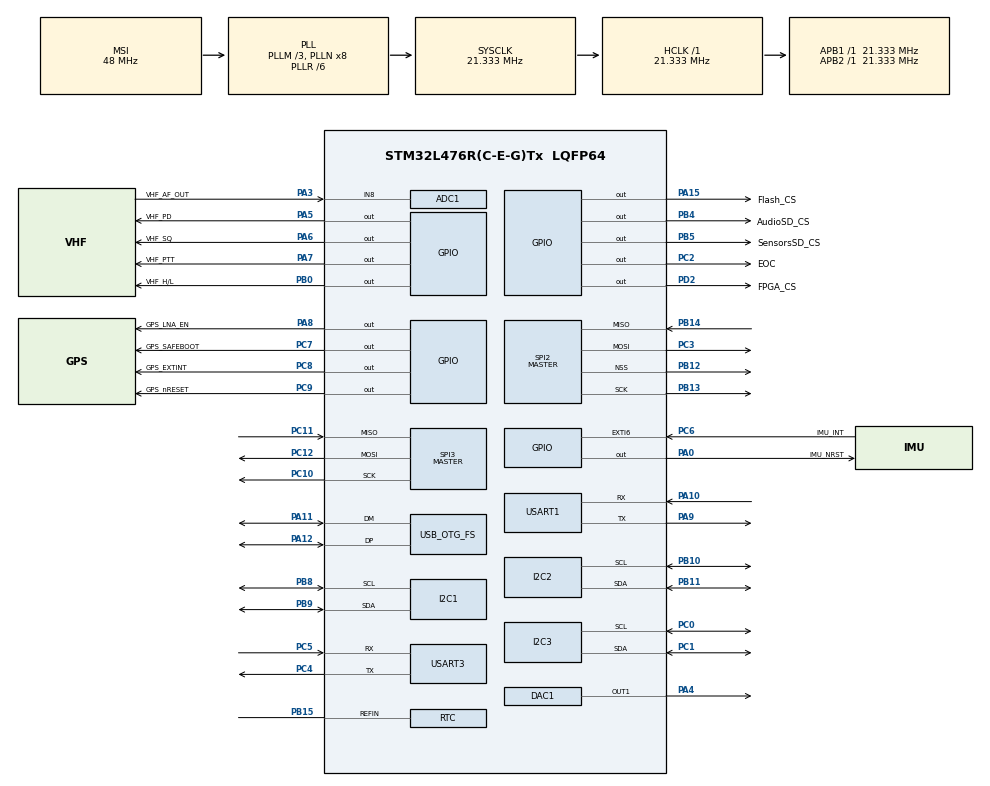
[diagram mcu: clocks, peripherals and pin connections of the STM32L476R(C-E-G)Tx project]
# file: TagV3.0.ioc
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ADC1.Channel-5\#ChannelRegularConversion=ADC_CHANNEL_8
ADC1.NbrOfConversionFlag=1
ADC1.OffsetNumber-5\#ChannelRegularConversion=ADC_OFFSET_NONE
ADC1.Rank-5\#ChannelRegularConversion=1
ADC1.SamplingTime-5\#ChannelRegularConversion=ADC_SAMPLETIME_2CYCLES_5
ADC1.master=1
DAC1.DAC_UserTrimming-DAC_OUT1=DAC_TRIMMING_FACTORY
I2C1.Timing=0x0050527B
I2C2.Timing=0x0050527B
I2C3.Timing=0x0050527B
Mcu.Family=STM32L4
Mcu.Name=STM32L476R(C-E-G)Tx
Mcu.Package=LQFP64
NVIC.OTG_FS_IRQn=true\:0\:0\:false\:false\:true\:false\:true\:true
NVIC.PVD_PVM_IRQn=true\:0\:0\:false\:false\:true\:true\:true\:true
NVIC.PriorityGroup=NVIC_PRIORITYGROUP_4
PA0.GPIO_Label=IMU_NRST
PA0.Signal=GPIO_Output
PA10.Mode=Asynchronous
PA10.Signal=USART1_RX
PA11.Mode=Device_Only
PA11.Signal=USB_OTG_FS_DM
PA12.Mode=Device_Only
PA12.Signal=USB_OTG_FS_DP
PA13\ (JTMS-SWDIO).Mode=Trace_Asynchronous_SW
PA13\ (JTMS-SWDIO).Signal=SYS_JTMS-SWDIO
PA14\ (JTCK-SWCLK).Mode=Trace_Asynchronous_SW
PA14\ (JTCK-SWCLK).Signal=SYS_JTCK-SWCLK
PA15\ (JTDI).GPIO_Label=Flash_CS
PA15\ (JTDI).Signal=GPIO_Output
PA3.GPIO_Label=VHF_AF_OUT
PA3.Signal=ADCx_IN8
PA4.Signal=COMP_DAC11_group
PA5.GPIO_Label=VHF_PD
PA5.Signal=GPIO_Output
PA6.GPIO_Label=VHF_SQ
PA6.Signal=GPIO_Output
PA7.GPIO_Label=VHF_PTT
PA7.Signal=GPIO_Output
PA8.GPIO_Label=GPS_LNA_EN
PA8.Signal=GPIO_Output
PA9.Mode=Asynchronous
PA9.Signal=USART1_TX
PB0.GPIO_Label=VHF_H/L
PB0.Signal=GPIO_Output
PB10.Mode=I2C
PB10.Signal=I2C2_SCL
PB11.Mode=I2C
PB11.Signal=I2C2_SDA
PB12.Mode=NSS_Signal_Hard_Output
PB12.Signal=SPI2_NSS
PB13.Mode=Full_Duplex_Master
PB13.Signal=SPI2_SCK
PB14.Mode=Full_Duplex_Master
PB14.Signal=SPI2_MISO
PB15.Mode=Reference_Clock_Detection_Activate
PB15.Signal=RTC_REFIN
PB2.Signal=RTC_OUT_CALIB
PB3\ (JTDO-TRACESWO).Mode=Trace_Asynchronous_SW
PB3\ (JTDO-TRACESWO).Signal=SYS_JTDO-SWO
PB4\ (NJTRST).GPIO_Label=AudioSD_CS
PB4\ (NJTRST).Signal=GPIO_Output
PB5.GPIO_Label=SensorsSD_CS
PB5.Signal=GPIO_Output
PB8.Mode=I2C
PB8.Signal=I2C1_SCL
PB9.Mode=I2C
PB9.Signal=I2C1_SDA
PC0.Mode=I2C
PC0.Signal=I2C3_SCL
PC1.Mode=I2C
PC1.Signal=I2C3_SDA
PC10.Mode=Full_Duplex_Master
PC10.Signal=SPI3_SCK
PC11.Mode=Full_Duplex_Master
PC11.Signal=SPI3_MISO
PC12.Mode=Full_Duplex_Master
PC12.Signal=SPI3_MOSI
PC14-OSC32_IN\ (PC14).Mode=LSE-External-Oscillator
PC14-OSC32_IN\ (PC14).Signal=RCC_OSC32_IN
PC15-OSC32_OUT\ (PC15).Mode=LSE-External-Oscillator
PC15-OSC32_OUT\ (PC15).Signal=RCC_OSC32_OUT
PC2.GPIO_Label=EOC
PC2.Signal=GPIO_Output
PC3.Mode=Full_Duplex_Master
PC3.Signal=SPI2_MOSI
PC4.Mode=Asynchronous
PC4.Signal=USART3_TX
PC5.Mode=Asynchronous
PC5.Signal=USART3_RX
PC6.GPIO_Label=IMU_INT
PC6.Signal=GPXTI6
PC7.GPIO_Label=GPS_SAFEBOOT
PC7.Signal=GPIO_Output
PC8.GPIO_Label=GPS_EXTINT
PC8.Signal=GPIO_Output
PC9.GPIO_Label=GPS_nRESET
PC9.Signal=GPIO_Output
PD2.GPIO_Label=FPGA_CS
PD2.Signal=GPIO_Output
ProjectManager.HeapSize=0x200
ProjectManager.StackSize=0x400
ProjectManager.TargetToolchain=STM32CubeIDE
RCC.ADCFreq_Value=21333333.333333332
RCC.AHBFreq_Value=21333333.333333332
RCC.APB1Freq_Value=21333333.333333332
RCC.APB1TimFreq_Value=21333333.333333332
RCC.APB2Freq_Value=21333333.333333332
RCC.APB2TimFreq_Value=21333333.333333332
RCC.CK48CLockSelection=RCC_USBCLKSOURCE_MSI
RCC.CortexFreq_Value=21333333.333333332
RCC.HCLKFreq_Value=21333333.333333332
RCC.HSE_VALUE=8000000
RCC.HSICalibrationValue=16
RCC.HSI_VALUE=16000000
RCC.MSIClockRange=RCC_MSIRANGE_11
RCC.MSI_VALUE=48000000
RCC.PLLM=3
RCC.PLLR=RCC_PLLR_DIV6
RCC.PLLSAI1Q=RCC_PLLQ_DIV4
RCC.PLLSAI1R=RCC_PLLR_DIV6
RCC.PREFETCH_ENABLE=0
RCC.PWR_Regulator_Voltage_Scale=PWR_REGULATOR_VOLTAGE_SCALE2
RCC.RTCClockSelection=RCC_RTCCLKSOURCE_LSE
RCC.SYSCLKFreq_VALUE=21333333.333333332
RCC.SYSCLKSource=RCC_SYSCLKSOURCE_PLLCLK
RCC.USBFreq_Value=48000000
RCC.VCOOutputFreq_Value=128000000
RTC.Format=RTC_FORMAT_BIN
RTC.HourFormat=RTC_HOURFORMAT_24
SH.ADCx_IN8.0=ADC1_IN8,IN8-Single-Ended
SH.COMP_DAC11_group.0=DAC1_OUT1,DAC_OUT1
SPI2.CalculateBaudRate=10.666666 MBits/s
SPI2.Direction=SPI_DIRECTION_2LINES
SPI2.Mode=SPI_MODE_MASTER
SPI2.NSSPMode=SPI_NSS_PULSE_ENABLE
SPI2.VirtualNSS=VM_NSSHARD
SPI2.VirtualType=VM_MASTER
SPI3.CalculateBaudRate=10.666666 MBits/s
SPI3.Direction=SPI_DIRECTION_2LINES
SPI3.Mode=SPI_MODE_MASTER
SPI3.VirtualType=VM_MASTER
USART1.VirtualMode-Asynchronous=VM_ASYNC
USART3.VirtualMode-Asynchronous=VM_ASYNC
USB_DEVICE.CLASS_NAME_FS=CDC
USB_DEVICE.VirtualMode=Cdc
USB_DEVICE.VirtualModeFS=Cdc_FS
USB_OTG_FS.VirtualMode=Device_Only
USB_OTG_FS.low_power_enable=ENABLE
USB_OTG_FS.lpm_enable=ENABLE
VP_RTC_VS_RTC_Activate.Mode=RTC_Enabled
VP_RTC_VS_RTC_Calendar.Mode=RTC_Calendar
VP_USB_DEVICE_VS_USB_DEVICE_CDC_FS.Mode=CDC_FS
board=custom

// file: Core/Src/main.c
/* USER CODE BEGIN Header */
/**
 ******************************************************************************
 * @file           : main.c
 * @brief          : Main program body
 ******************************************************************************
 * @attention
 *
 * Copyright (c) 2023 STMicroelectronics.
 * All rights reserved.
 *
 * This software is licensed under terms that can be found in the LICENSE file
 * in the root directory of this software component.
 * If no LICENSE file comes with this software, it is provided AS-IS.
 *
 ******************************************************************************
 */
/* USER CODE END Header */
#include "main.h"
#include "usb_device.h"

/* USER CODE BEGIN Includes */
#include "BMS.h"
#include "BuildConfigs.h"
#include "KellerDepth.h"
#include "LightSensor.h"

#ifdef UNIT_TESTS
#include "UnitTests.h"
#endif
/* USER CODE END Includes */

ADC_HandleTypeDef hadc1;

DAC_HandleTypeDef hdac1;

I2C_HandleTypeDef hi2c1;
I2C_HandleTypeDef hi2c2;
I2C_HandleTypeDef hi2c3;

RTC_HandleTypeDef hrtc;

SPI_HandleTypeDef hspi2;
SPI_HandleTypeDef hspi3;

UART_HandleTypeDef huart1;
UART_HandleTypeDef huart3;

/* USER CODE BEGIN PV */
Keller_HandleTypedef keller_sensor;
Light_Sensor_HandleTypedef light_sensor;
/* USER CODE END PV */

void SystemClock_Config(void);
static void MX_GPIO_Init(void);
static void MX_I2C1_Init(void);
static void MX_RTC_Init(void);
static void MX_SPI2_Init(void);
static void MX_DAC1_Init(void);
static void MX_I2C3_Init(void);
static void MX_SPI3_Init(void);
static void MX_ADC1_Init(void);
static void MX_I2C2_Init(void);
static void MX_USART3_UART_Init(void);
static void MX_USART1_UART_Init(void);

int main(void)
{

	/* MCU Configuration--------------------------------------------------------*/

	/* Reset of all peripherals, Initializes the Flash interface and the Systick. */
	HAL_Init();

	/* Configure the system clock */
	SystemClock_Config();

	/* Initialize all configured peripherals */
	MX_GPIO_Init();
	MX_I2C1_Init();
	MX_RTC_Init();
	MX_USB_DEVICE_Init();
	MX_SPI2_Init();
	MX_DAC1_Init();
	MX_I2C3_Init();
	MX_SPI3_Init();
	MX_ADC1_Init();
	MX_I2C2_Init();
	MX_USART3_UART_Init();
	MX_USART1_UART_Init();
	/* USER CODE BEGIN 2 */
	Keller_Init(&keller_sensor, &hi2c3);
	Light_Sensor_Init(&light_sensor, &hi2c3);
	/* USER CODE END 2 */

	/* Infinite loop */
	/* USER CODE BEGIN WHILE */
#ifdef UNIT_TESTS
	Keller_UT(&keller_sensor);
	Light_UT(&light_sensor);
	while (1){}
#endif
	while (1)
	{
		/* USER CODE END WHILE */

	}
}

void SystemClock_Config(void)
{
	RCC_OscInitTypeDef RCC_OscInitStruct = {0};
	RCC_ClkInitTypeDef RCC_ClkInitStruct = {0};

	/** Configure the main internal regulator output voltage
	 */
	if (HAL_PWREx_ControlVoltageScaling(PWR_REGULATOR_VOLTAGE_SCALE2) != HAL_OK)
	{
		Error_Handler();
	}

	/** Configure LSE Drive Capability
	 */
	HAL_PWR_EnableBkUpAccess();
	__HAL_RCC_LSEDRIVE_CONFIG(RCC_LSEDRIVE_LOW);

	/** Initializes the RCC Oscillators according to the specified parameters
	 * in the RCC_OscInitTypeDef structure.
	 */
	RCC_OscInitStruct.OscillatorType = RCC_OSCILLATORTYPE_LSE|RCC_OSCILLATORTYPE_MSI;
	RCC_OscInitStruct.LSEState = RCC_LSE_ON;
	RCC_OscInitStruct.MSIState = RCC_MSI_ON;
	RCC_OscInitStruct.MSICalibrationValue = 0;
	RCC_OscInitStruct.MSIClockRange = RCC_MSIRANGE_11;
	RCC_OscInitStruct.PLL.PLLState = RCC_PLL_ON;
	RCC_OscInitStruct.PLL.PLLSource = RCC_PLLSOURCE_MSI;
	RCC_OscInitStruct.PLL.PLLM = 3;
	RCC_OscInitStruct.PLL.PLLN = 8;
	RCC_OscInitStruct.PLL.PLLP = RCC_PLLP_DIV7;
	RCC_OscInitStruct.PLL.PLLQ = RCC_PLLQ_DIV2;
	RCC_OscInitStruct.PLL.PLLR = RCC_PLLR_DIV6;
	if (HAL_RCC_OscConfig(&RCC_OscInitStruct) != HAL_OK)
	{
		Error_Handler();
	}

	/** Initializes the CPU, AHB and APB buses clocks
	 */
	RCC_ClkInitStruct.ClockType = RCC_CLOCKTYPE_HCLK|RCC_CLOCKTYPE_SYSCLK
			|RCC_CLOCKTYPE_PCLK1|RCC_CLOCKTYPE_PCLK2;
	RCC_ClkInitStruct.SYSCLKSource = RCC_SYSCLKSOURCE_PLLCLK;
	RCC_ClkInitStruct.AHBCLKDivider = RCC_SYSCLK_DIV1;
	RCC_ClkInitStruct.APB1CLKDivider = RCC_HCLK_DIV1;
	RCC_ClkInitStruct.APB2CLKDivider = RCC_HCLK_DIV1;

	if (HAL_RCC_ClockConfig(&RCC_ClkInitStruct, FLASH_LATENCY_3) != HAL_OK)
	{
		Error_Handler();
	}

	/** Enable MSI Auto calibration
	 */
	HAL_RCCEx_EnableMSIPLLMode();
}

static void MX_ADC1_Init(void)
{

	ADC_MultiModeTypeDef multimode = {0};
	ADC_ChannelConfTypeDef sConfig = {0};

	/** Common config
	 */
	hadc1.Instance = ADC1;
	hadc1.Init.ClockPrescaler = ADC_CLOCK_ASYNC_DIV1;
	hadc1.Init.Resolution = ADC_RESOLUTION_12B;
	hadc1.Init.DataAlign = ADC_DATAALIGN_RIGHT;
	hadc1.Init.ScanConvMode = ADC_SCAN_DISABLE;
	hadc1.Init.EOCSelection = ADC_EOC_SINGLE_CONV;
	hadc1.Init.LowPowerAutoWait = DISABLE;
	hadc1.Init.ContinuousConvMode = DISABLE;
	hadc1.Init.NbrOfConversion = 1;
	hadc1.Init.DiscontinuousConvMode = DISABLE;
	hadc1.Init.ExternalTrigConv = ADC_SOFTWARE_START;
	hadc1.Init.ExternalTrigConvEdge = ADC_EXTERNALTRIGCONVEDGE_NONE;
	hadc1.Init.DMAContinuousRequests = DISABLE;
	hadc1.Init.Overrun = ADC_OVR_DATA_PRESERVED;
	hadc1.Init.OversamplingMode = DISABLE;
	if (HAL_ADC_Init(&hadc1) != HAL_OK)
	{
		Error_Handler();
	}

	/** Configure the ADC multi-mode
	 */
	multimode.Mode = ADC_MODE_INDEPENDENT;
	if (HAL_ADCEx_MultiModeConfigChannel(&hadc1, &multimode) != HAL_OK)
	{
		Error_Handler();
	}

	/** Configure Regular Channel
	 */
	sConfig.Channel = ADC_CHANNEL_8;
	sConfig.Rank = ADC_REGULAR_RANK_1;
	sConfig.SamplingTime = ADC_SAMPLETIME_2CYCLES_5;
	sConfig.SingleDiff = ADC_SINGLE_ENDED;
	sConfig.OffsetNumber = ADC_OFFSET_NONE;
	sConfig.Offset = 0;
	if (HAL_ADC_ConfigChannel(&hadc1, &sConfig) != HAL_OK)
	{
		Error_Handler();
	}

}

static void MX_DAC1_Init(void)
{

	DAC_ChannelConfTypeDef sConfig = {0};

	/** DAC Initialization
	 */
	hdac1.Instance = DAC1;
	if (HAL_DAC_Init(&hdac1) != HAL_OK)
	{
		Error_Handler();
	}

	/** DAC channel OUT1 config
	 */
	sConfig.DAC_SampleAndHold = DAC_SAMPLEANDHOLD_DISABLE;
	sConfig.DAC_Trigger = DAC_TRIGGER_NONE;
	sConfig.DAC_OutputBuffer = DAC_OUTPUTBUFFER_ENABLE;
	sConfig.DAC_ConnectOnChipPeripheral = DAC_CHIPCONNECT_DISABLE;
	sConfig.DAC_UserTrimming = DAC_TRIMMING_FACTORY;
	if (HAL_DAC_ConfigChannel(&hdac1, &sConfig, DAC_CHANNEL_1) != HAL_OK)
	{
		Error_Handler();
	}

}

static void MX_I2C1_Init(void)
{

	hi2c1.Instance = I2C1;
	hi2c1.Init.Timing = 0x0050527B;
	hi2c1.Init.OwnAddress1 = 0;
	hi2c1.Init.AddressingMode = I2C_ADDRESSINGMODE_7BIT;
	hi2c1.Init.DualAddressMode = I2C_DUALADDRESS_DISABLE;
	hi2c1.Init.OwnAddress2 = 0;
	hi2c1.Init.OwnAddress2Masks = I2C_OA2_NOMASK;
	hi2c1.Init.GeneralCallMode = I2C_GENERALCALL_DISABLE;
	hi2c1.Init.NoStretchMode = I2C_NOSTRETCH_DISABLE;
	if (HAL_I2C_Init(&hi2c1) != HAL_OK)
	{
		Error_Handler();
	}

	/** Configure Analogue filter
	 */
	if (HAL_I2CEx_ConfigAnalogFilter(&hi2c1, I2C_ANALOGFILTER_ENABLE) != HAL_OK)
	{
		Error_Handler();
	}

	/** Configure Digital filter
	 */
	if (HAL_I2CEx_ConfigDigitalFilter(&hi2c1, 0) != HAL_OK)
	{
		Error_Handler();
	}

}

static void MX_I2C2_Init(void)
{

	hi2c2.Instance = I2C2;
	hi2c2.Init.Timing = 0x0050527B;
	hi2c2.Init.OwnAddress1 = 0;
	hi2c2.Init.AddressingMode = I2C_ADDRESSINGMODE_7BIT;
	hi2c2.Init.DualAddressMode = I2C_DUALADDRESS_DISABLE;
	hi2c2.Init.OwnAddress2 = 0;
	hi2c2.Init.OwnAddress2Masks = I2C_OA2_NOMASK;
	hi2c2.Init.GeneralCallMode = I2C_GENERALCALL_DISABLE;
	hi2c2.Init.NoStretchMode = I2C_NOSTRETCH_DISABLE;
	if (HAL_I2C_Init(&hi2c2) != HAL_OK)
	{
		Error_Handler();
	}

	/** Configure Analogue filter
	 */
	if (HAL_I2CEx_ConfigAnalogFilter(&hi2c2, I2C_ANALOGFILTER_ENABLE) != HAL_OK)
	{
		Error_Handler();
	}

	/** Configure Digital filter
	 */
	if (HAL_I2CEx_ConfigDigitalFilter(&hi2c2, 0) != HAL_OK)
	{
		Error_Handler();
	}

}

static void MX_I2C3_Init(void)
{

	hi2c3.Instance = I2C3;
	hi2c3.Init.Timing = 0x0050527B;
	hi2c3.Init.OwnAddress1 = 0;
	hi2c3.Init.AddressingMode = I2C_ADDRESSINGMODE_7BIT;
	hi2c3.Init.DualAddressMode = I2C_DUALADDRESS_DISABLE;
	hi2c3.Init.OwnAddress2 = 0;
	hi2c3.Init.OwnAddress2Masks = I2C_OA2_NOMASK;
	hi2c3.Init.GeneralCallMode = I2C_GENERALCALL_DISABLE;
	hi2c3.Init.NoStretchMode = I2C_NOSTRETCH_DISABLE;
	if (HAL_I2C_Init(&hi2c3) != HAL_OK)
	{
		Error_Handler();
	}

	/** Configure Analogue filter
	 */
	if (HAL_I2CEx_ConfigAnalogFilter(&hi2c3, I2C_ANALOGFILTER_ENABLE) != HAL_OK)
	{
		Error_Handler();
	}

	/** Configure Digital filter
	 */
	if (HAL_I2CEx_ConfigDigitalFilter(&hi2c3, 0) != HAL_OK)
	{
		Error_Handler();
	}

}

static void MX_RTC_Init(void)
{

	RTC_TimeTypeDef sTime = {0};
	RTC_DateTypeDef sDate = {0};

	/** Initialize RTC Only
	 */
	hrtc.Instance = RTC;
	hrtc.Init.HourFormat = RTC_HOURFORMAT_24;
	hrtc.Init.AsynchPrediv = 127;
	hrtc.Init.SynchPrediv = 255;
	hrtc.Init.OutPut = RTC_OUTPUT_DISABLE;
	hrtc.Init.OutPutRemap = RTC_OUTPUT_REMAP_POS1;
	hrtc.Init.OutPutPolarity = RTC_OUTPUT_POLARITY_HIGH;
	hrtc.Init.OutPutType = RTC_OUTPUT_TYPE_OPENDRAIN;
	if (HAL_RTC_Init(&hrtc) != HAL_OK)
	{
		Error_Handler();
	}

	/** Initialize RTC and set the Time and Date
	 */
	sTime.Hours = 0;
	sTime.Minutes = 0;
	sTime.Seconds = 0;
	sTime.DayLightSaving = RTC_DAYLIGHTSAVING_NONE;
	sTime.StoreOperation = RTC_STOREOPERATION_RESET;
	if (HAL_RTC_SetTime(&hrtc, &sTime, RTC_FORMAT_BIN) != HAL_OK)
	{
		Error_Handler();
	}
	sDate.WeekDay = RTC_WEEKDAY_MONDAY;
	sDate.Month = RTC_MONTH_JANUARY;
	sDate.Date = 1;
	sDate.Year = 0;

	if (HAL_RTC_SetDate(&hrtc, &sDate, RTC_FORMAT_BIN) != HAL_OK)
	{
		Error_Handler();
	}

	/** Enable the reference Clock input
	 */
	if (HAL_RTCEx_SetRefClock(&hrtc) != HAL_OK)
	{
		Error_Handler();
	}

}

static void MX_SPI2_Init(void)
{

	/* SPI2 parameter configuration*/
	hspi2.Instance = SPI2;
	hspi2.Init.Mode = SPI_MODE_MASTER;
	hspi2.Init.Direction = SPI_DIRECTION_2LINES;
	hspi2.Init.DataSize = SPI_DATASIZE_4BIT;
	hspi2.Init.CLKPolarity = SPI_POLARITY_LOW;
	hspi2.Init.CLKPhase = SPI_PHASE_1EDGE;
	hspi2.Init.NSS = SPI_NSS_HARD_OUTPUT;
	hspi2.Init.BaudRatePrescaler = SPI_BAUDRATEPRESCALER_2;
	hspi2.Init.FirstBit = SPI_FIRSTBIT_MSB;
	hspi2.Init.TIMode = SPI_TIMODE_DISABLE;
	hspi2.Init.CRCCalculation = SPI_CRCCALCULATION_DISABLE;
	hspi2.Init.CRCPolynomial = 7;
	hspi2.Init.CRCLength = SPI_CRC_LENGTH_DATASIZE;
	hspi2.Init.NSSPMode = SPI_NSS_PULSE_ENABLE;
	if (HAL_SPI_Init(&hspi2) != HAL_OK)
	{
		Error_Handler();
	}

}

static void MX_SPI3_Init(void)
{

	/* SPI3 parameter configuration*/
	hspi3.Instance = SPI3;
	hspi3.Init.Mode = SPI_MODE_MASTER;
	hspi3.Init.Direction = SPI_DIRECTION_2LINES;
	hspi3.Init.DataSize = SPI_DATASIZE_4BIT;
	hspi3.Init.CLKPolarity = SPI_POLARITY_LOW;
	hspi3.Init.CLKPhase = SPI_PHASE_1EDGE;
	hspi3.Init.NSS = SPI_NSS_SOFT;
	hspi3.Init.BaudRatePrescaler = SPI_BAUDRATEPRESCALER_2;
	hspi3.Init.FirstBit = SPI_FIRSTBIT_MSB;
	hspi3.Init.TIMode = SPI_TIMODE_DISABLE;
	hspi3.Init.CRCCalculation = SPI_CRCCALCULATION_DISABLE;
	hspi3.Init.CRCPolynomial = 7;
	hspi3.Init.CRCLength = SPI_CRC_LENGTH_DATASIZE;
	hspi3.Init.NSSPMode = SPI_NSS_PULSE_ENABLE;
	if (HAL_SPI_Init(&hspi3) != HAL_OK)
	{
		Error_Handler();
	}

}

static void MX_USART1_UART_Init(void)
{

	huart1.Instance = USART1;
	huart1.Init.BaudRate = 115200;
	huart1.Init.WordLength = UART_WORDLENGTH_8B;
	huart1.Init.StopBits = UART_STOPBITS_1;
	huart1.Init.Parity = UART_PARITY_NONE;
	huart1.Init.Mode = UART_MODE_TX_RX;
	huart1.Init.HwFlowCtl = UART_HWCONTROL_NONE;
	huart1.Init.OverSampling = UART_OVERSAMPLING_16;
	huart1.Init.OneBitSampling = UART_ONE_BIT_SAMPLE_DISABLE;
	huart1.AdvancedInit.AdvFeatureInit = UART_ADVFEATURE_NO_INIT;
	if (HAL_UART_Init(&huart1) != HAL_OK)
	{
		Error_Handler();
	}

}

static void MX_USART3_UART_Init(void)
{

	huart3.Instance = USART3;
	huart3.Init.BaudRate = 115200;
	huart3.Init.WordLength = UART_WORDLENGTH_8B;
	huart3.Init.StopBits = UART_STOPBITS_1;
	huart3.Init.Parity = UART_PARITY_NONE;
	huart3.Init.Mode = UART_MODE_TX_RX;
	huart3.Init.HwFlowCtl = UART_HWCONTROL_NONE;
	huart3.Init.OverSampling = UART_OVERSAMPLING_16;
	huart3.Init.OneBitSampling = UART_ONE_BIT_SAMPLE_DISABLE;
	huart3.AdvancedInit.AdvFeatureInit = UART_ADVFEATURE_NO_INIT;
	if (HAL_UART_Init(&huart3) != HAL_OK)
	{
		Error_Handler();
	}

}

static void MX_GPIO_Init(void)
{
	GPIO_InitTypeDef GPIO_InitStruct = {0};

	/* GPIO Ports Clock Enable */
	__HAL_RCC_GPIOC_CLK_ENABLE();
	__HAL_RCC_GPIOA_CLK_ENABLE();
	__HAL_RCC_GPIOB_CLK_ENABLE();
	__HAL_RCC_GPIOD_CLK_ENABLE();

	/*Configure GPIO pin Output Level */
	HAL_GPIO_WritePin(GPIOC, EOC_Pin|GPS_SAFEBOOT_Pin|GPS_EXTINT_Pin|GPS_nRESET_Pin, GPIO_PIN_RESET);

	/*Configure GPIO pin Output Level */
	HAL_GPIO_WritePin(GPIOA, IMU_NRST_Pin|VHF_PD_Pin|VHF_SQ_Pin|VHF_PTT_Pin
			|GPS_LNA_EN_Pin|Flash_CS_Pin, GPIO_PIN_RESET);

	/*Configure GPIO pin Output Level */
	HAL_GPIO_WritePin(GPIOB, VHF_H_L_Pin|AudioSD_CS_Pin|SensorsSD_CS_Pin, GPIO_PIN_RESET);

	/*Configure GPIO pin Output Level */
	HAL_GPIO_WritePin(FPGA_CS_GPIO_Port, FPGA_CS_Pin, GPIO_PIN_RESET);

	/*Configure GPIO pins : EOC_Pin GPS_SAFEBOOT_Pin GPS_EXTINT_Pin GPS_nRESET_Pin */
	GPIO_InitStruct.Pin = EOC_Pin|GPS_SAFEBOOT_Pin|GPS_EXTINT_Pin|GPS_nRESET_Pin;
	GPIO_InitStruct.Mode = GPIO_MODE_OUTPUT_PP;
	GPIO_InitStruct.Pull = GPIO_NOPULL;
	GPIO_InitStruct.Speed = GPIO_SPEED_FREQ_LOW;
	HAL_GPIO_Init(GPIOC, &GPIO_InitStruct);

	/*Configure GPIO pins : IMU_NRST_Pin VHF_PD_Pin VHF_SQ_Pin VHF_PTT_Pin
                           GPS_LNA_EN_Pin Flash_CS_Pin */
	GPIO_InitStruct.Pin = IMU_NRST_Pin|VHF_PD_Pin|VHF_SQ_Pin|VHF_PTT_Pin
			|GPS_LNA_EN_Pin|Flash_CS_Pin;
	GPIO_InitStruct.Mode = GPIO_MODE_OUTPUT_PP;
	GPIO_InitStruct.Pull = GPIO_NOPULL;
	GPIO_InitStruct.Speed = GPIO_SPEED_FREQ_LOW;
	HAL_GPIO_Init(GPIOA, &GPIO_InitStruct);

	/*Configure GPIO pins : VHF_H_L_Pin AudioSD_CS_Pin SensorsSD_CS_Pin */
	GPIO_InitStruct.Pin = VHF_H_L_Pin|AudioSD_CS_Pin|SensorsSD_CS_Pin;
	GPIO_InitStruct.Mode = GPIO_MODE_OUTPUT_PP;
	GPIO_InitStruct.Pull = GPIO_NOPULL;
	GPIO_InitStruct.Speed = GPIO_SPEED_FREQ_LOW;
	HAL_GPIO_Init(GPIOB, &GPIO_InitStruct);

	/*Configure GPIO pin : IMU_INT_Pin */
	GPIO_InitStruct.Pin = IMU_INT_Pin;
	GPIO_InitStruct.Mode = GPIO_MODE_IT_RISING;
	GPIO_InitStruct.Pull = GPIO_NOPULL;
	HAL_GPIO_Init(IMU_INT_GPIO_Port, &GPIO_InitStruct);

	/*Configure GPIO pin : FPGA_CS_Pin */
	GPIO_InitStruct.Pin = FPGA_CS_Pin;
	GPIO_InitStruct.Mode = GPIO_MODE_OUTPUT_PP;
	GPIO_InitStruct.Pull = GPIO_NOPULL;
	GPIO_InitStruct.Speed = GPIO_SPEED_FREQ_LOW;
	HAL_GPIO_Init(FPGA_CS_GPIO_Port, &GPIO_InitStruct);

}

void Error_Handler(void)
{
	__disable_irq();
	while (1)
	{
	}
}
